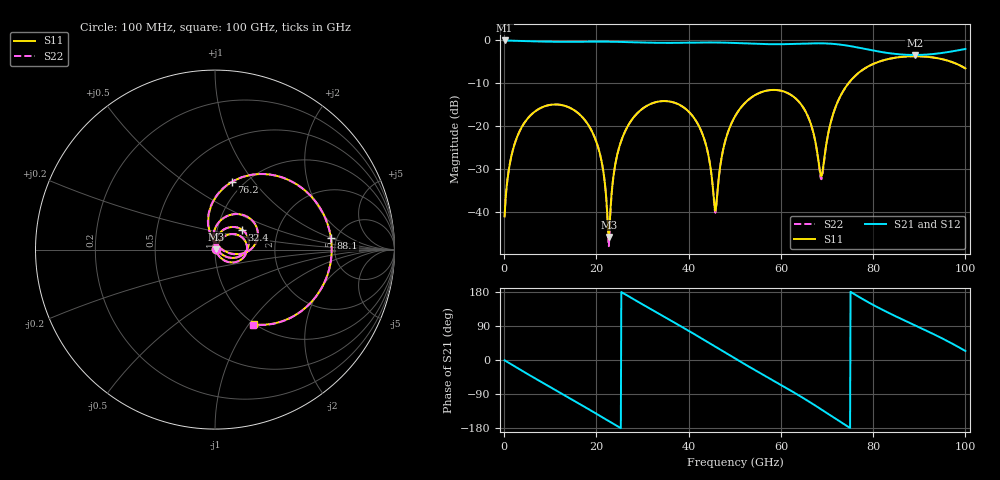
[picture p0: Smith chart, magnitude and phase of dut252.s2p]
! Touchstone file exported from HFSS 2026.1.0
!  File:  C:/ffzhzh/LocalFiles/Ansys_Project_Files/temp_train_TSV_RDL_252_1783671414_26216.aedt
!  Generated:  04:23:36 PM Jul 10, 2026
!  Design:  TSV_RDL
!  Project:  temp_train_TSV_RDL_252_1783671414_26216
! Variables:
!  h_bsmrdl = 4.21um
!  h_ox = 20um
!  h_rdl = 5um
!  h_sub = 57.24um
!  h_tmrdl = 3.43um
!  h_tsv = 57.24um
!  h_via = 3um
!  l_bsmrdl = 103.95um
!  l_sub = 2488.56um
!  l_tmrdl = 403.43um
!  m_sub = 200um
!  pitch = 40.55um
!  r_tsv = 12.7um
!  s_tmrdl = 10um
!  w_bsmrdl = 24.48um
!  w_sub = 500um
!  w_tmrdl = 29.85um
!  x_tsv_center1 = 418.355um
!  x_tsv_center2 = 546.785um
!  x_tsv_center3 = 980.065um
!  x_tsv_center4 = 1108.495um
!  x_tsv_center5 = 1541.775um
!  x_tsv_center6 = 1670.205um
# GHz S MA R 50.000000
! Terminal data exported
! Port[1] = TM_RDL1_1_T1
! Port[2] = TM_RDL5_1_T1
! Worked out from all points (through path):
!   1000 points, 100 MHz to 100 GHz, reference 50 ohm
!   highest |S21| = -0.07 dB at 100 MHz (marker M1); lowest = -3.4 dB at 89 GHz (marker M2)
!   group delay of S21, straight-line fit = 19.6 ps
!   lowest |S11| = -45.7 dB at 22.7 GHz (marker M3), VSWR 1.01, Z = 50.5 + j0.183 ohm
!   |S11| at or under -10 dB: start of sweep to 74.67 GHz
!   |S22| runs from -47.9 to -3.7 dB; largest |S21 - S12| = 2.9e-13
!   S11 on the Smith chart (normalised r, x): 100 MHz: 1.02, +0.01; 32.4 GHz: 1.32, +0.30; 76.2 GHz: 0.88, +0.78; 88.1 GHz: 4.47, +1.00; 100 GHz: 0.99, -1.06
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0.1  0.008952 25.3  0.992 -0.8  0.992 -0.8  0.008952 25.3
! Gamma 0 0 0 0
! Port Impedance 50 0 50 0
1.9  0.05316 61.5  0.9853 -14.0  0.9853 -14.0  0.05317 61.5
5.2  0.1249 44.0  0.9733 -37.8  0.9733 -37.8  0.1249 43.9
11.1  0.1791 4.9  0.957 -79.2  0.957 -79.2  0.1792 4.8
16.8  0.13 -32.7  0.9584 -119.1  0.9584 -119.1  0.1302 -33.2
20.6  0.05163 -55.5  0.9606 -146.2  0.9606 -146.2  0.05172 -56.8
22.7  0.005183 20.5  0.9591 -161.3  0.9591 -161.3  0.004044 19.6
25.6  0.07286 79.8  0.9529 177.9  0.9529 177.9  0.0726 80.7
32.4  0.1873 36.1  0.9326 130.0  0.9326 130.0  0.1872 36.2
33.4  0.1934 29.5  0.9309 123.1  0.9309 123.1  0.1932 29.6
41.9  0.1084 -25.2  0.9379 63.5  0.9379 63.5  0.1083 -25.4
45.8  0.01043 34.0  0.9396 35.1  0.9396 35.1  0.009914 33.9
50.1  0.1316 86.9  0.9269 3.7  0.9269 3.7  0.1315 87.1
59.5  0.2618 26.6  0.8963 -62.2  0.8963 -62.2  0.2617 26.4
66.7  0.09801 -13.2  0.9183 -114.4  0.9183 -114.4  0.09755 -14.4
68.8  0.02646 50.3  0.919 -130.7  0.919 -130.7  0.02425 50.5
71.6  0.1536 104.1  0.9026 -152.9  0.9026 -152.9  0.1531 104.9
76.2  0.3887 75.9  0.831 171.7  0.831 171.7  0.3884 76.2
83.4  0.6054 31.5  0.7066 124.1  0.7066 124.1  0.6052 31.5
88.1  0.6491 5.7  0.6736 96.9  0.6736 96.9  0.6489 5.7
89  0.6504 0.9  0.6727 91.8  0.6727 91.8  0.6502 0.8
100  0.4696 -62.5  0.7899 23.8  0.7899 23.8  0.4692 -63.0
